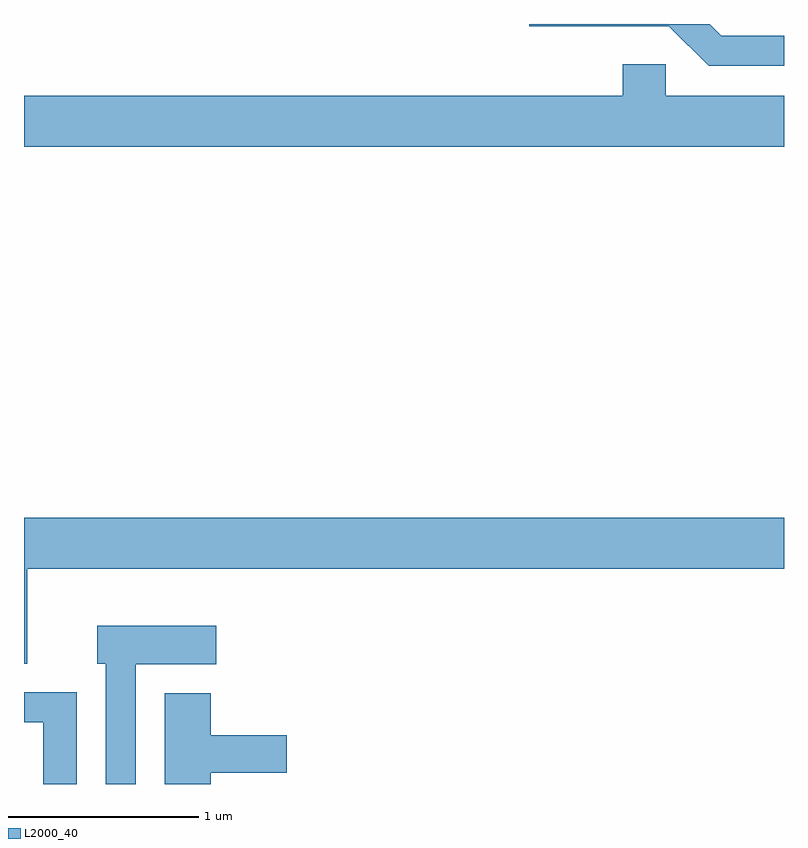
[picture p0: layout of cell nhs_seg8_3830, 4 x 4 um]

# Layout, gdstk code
import gdstk
lib = gdstk.Library(unit=1e-6, precision=1e-09)
def P(c, l, *ps):  # polygons
    for p in ps: c.add(gdstk.Polygon(p, *l))
L2000_40 = (2000, 40)

nhs_seg8_3830 = lib.new_cell('nhs_seg8_3830')
P(nhs_seg8_3830, L2000_40, [(303.611,1890.279),(303.282,1890.279),(303.219,1890.342),(302.271,1890.342),(302.271,1890.331),(303.004,1890.331),(303.214,1890.121),(303.611,1890.121)],
  [(303.611,1889.964),(302.989,1889.964),(302.989,1890.129),(302.761,1890.129),(302.761,1889.964),(299.611,1889.964),(299.611,1889.696),(303.611,1889.696)],
  [(299.629,1887.476),(303.611,1887.476),(303.611,1887.744),(299.611,1887.744),(299.611,1886.976),(299.629,1886.976)],
  [(300.199,1886.971),(300.624,1886.971),(300.624,1887.174),(299.996,1887.174),(299.996,1886.976),(300.041,1886.976),(300.041,1886.342),(300.199,1886.342)],
  [(299.889,1886.824),(299.611,1886.824),(299.611,1886.666),(299.711,1886.666),(299.711,1886.342),(299.889,1886.342)],
  [(300.594,1886.401),(300.994,1886.401),(300.994,1886.599),(300.594,1886.599),(300.594,1886.819),(300.351,1886.819),(300.351,1886.342),(300.594,1886.342)])

lib.write_gds('nhs_seg8_3830.gds')
